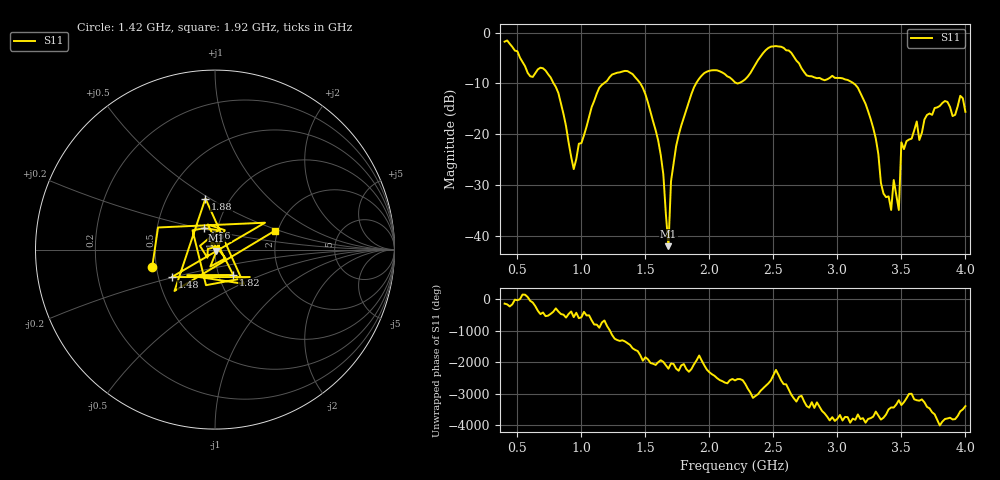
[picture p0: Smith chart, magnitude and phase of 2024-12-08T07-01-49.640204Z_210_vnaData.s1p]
!Created with skrf (http://scikit-rf.org).
# Hz S RI R 50.0
!freq ReS11 ImS11
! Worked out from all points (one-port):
!   181 points, 400 MHz to 4 GHz, reference 50 ohm
!   lowest |S11| = -42.1 dB at 1.68 GHz (marker M1), VSWR 1.02, Z = 50.6 - j0.51 ohm
!   |S11| at or under -10 dB: 783 MHz to 1.176 GHz (392.6 MHz wide, 40.1 % of centre); 1.46 GHz to 1.896 GHz (436.2 MHz wide, 26 % of centre); 3.126 GHz to end of sweep (the widest 3 of 4)
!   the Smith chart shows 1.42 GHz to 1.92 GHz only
!   S11 on the Smith chart (normalised r, x): 1.42 GHz: 0.47, -0.11; 1.48 GHz: 0.59, -0.20; 1.56 GHz: 0.86, +0.21; 1.82 GHz: 1.17, -0.34; 1.88 GHz: 0.77, +0.48; 1.92 GHz: 1.93, +0.47
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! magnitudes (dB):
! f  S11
! 400 MHz  -1.8
! 720 MHz  -7.5
! 860 MHz  -16.0
! 940 MHz  -26.9
! 1.14 GHz  -10.9
! 1.3 GHz  -7.8
! 1.42 GHz  -8.8
! 1.48 GHz  -10.9
! 1.56 GHz  -17.5
! 1.64 GHz  -27.9
! 1.68 GHz  -42.1
! 1.7 GHz  -29.3
! 1.76 GHz  -20.2
! 1.82 GHz  -15.2
! 1.88 GHz  -10.8
! 1.92 GHz  -9.1
! 2.2 GHz  -9.8
! 2.48 GHz  -2.8
! 2.66 GHz  -4.8
! 3.1 GHz  -9.6
! 3.26 GHz  -17.0
! 3.42 GHz  -34.9
! 3.44 GHz  -29.0
! 3.48 GHz  -34.9
! 3.5 GHz  -21.6
! 3.56 GHz  -21.1
! 3.84 GHz  -13.5
! 4 GHz  -15.6
